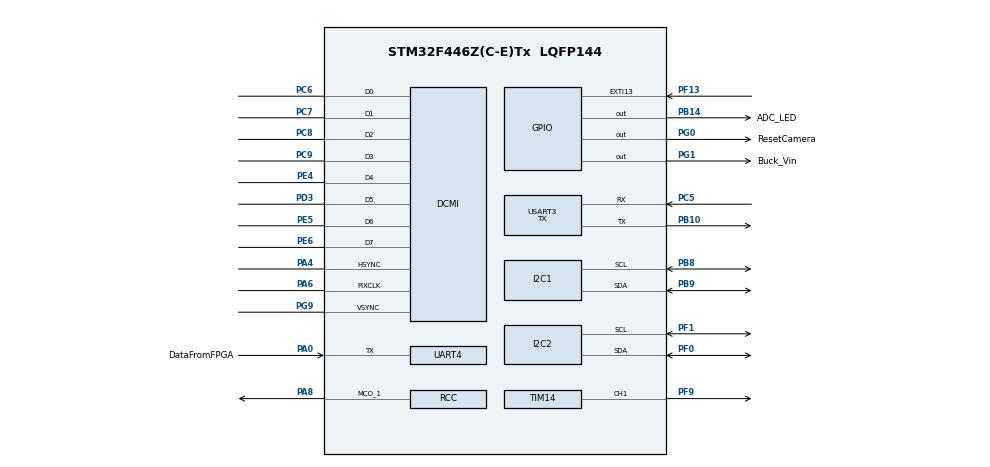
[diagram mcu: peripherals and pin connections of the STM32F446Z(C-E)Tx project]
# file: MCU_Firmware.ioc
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DCMI.HSPolarity=DCMI_HSPOLARITY_LOW
DCMI.JPEGMode=DCMI_JPEG_DISABLE
DCMI.PCKPolarity=DCMI_PCKPOLARITY_RISING
DCMI.VSPolarity=DCMI_VSPOLARITY_HIGH
Dma.DCMI.0.Direction=DMA_PERIPH_TO_MEMORY
Dma.DCMI.0.FIFOMode=DMA_FIFOMODE_ENABLE
Dma.DCMI.0.FIFOThreshold=DMA_FIFO_THRESHOLD_FULL
Dma.DCMI.0.Instance=DMA2_Stream1
Dma.DCMI.0.MemBurst=DMA_MBURST_INC4
Dma.DCMI.0.MemDataAlignment=DMA_MDATAALIGN_WORD
Dma.DCMI.0.MemInc=DMA_MINC_ENABLE
Dma.DCMI.0.Mode=DMA_CIRCULAR
Dma.DCMI.0.PeriphBurst=DMA_PBURST_SINGLE
Dma.DCMI.0.PeriphDataAlignment=DMA_PDATAALIGN_WORD
Dma.DCMI.0.PeriphInc=DMA_PINC_DISABLE
Dma.DCMI.0.Priority=DMA_PRIORITY_LOW
Dma.Request0=DCMI
I2C2.I2C_Mode=I2C_Standard
Mcu.Family=STM32F4
Mcu.Name=STM32F446Z(C-E)Tx
Mcu.Package=LQFP144
NVIC.DMA2_Stream1_IRQn=true\:0\:0\:false\:false\:true\:false\:true
NVIC.PriorityGroup=NVIC_PRIORITYGROUP_4
NVIC.UART4_IRQn=true\:0\:0\:false\:false\:true\:true\:true
PA0-WKUP.GPIO_Label=DataFromFPGA
PA0-WKUP.Mode=Half_duplex(single_wire_mode)
PA0-WKUP.Signal=UART4_TX
PA11.Signal=USB_OTG_FS_DM
PA12.Signal=USB_OTG_FS_DP
PA4.GPIO_Speed=GPIO_SPEED_FREQ_VERY_HIGH
PA4.Mode=Slave_8_bits_External_Synchro
PA4.Signal=DCMI_HSYNC
PA6.GPIO_Speed=GPIO_SPEED_FREQ_VERY_HIGH
PA6.Mode=Slave_8_bits_External_Synchro
PA6.Signal=DCMI_PIXCLK
PA8.Mode=Clock-out-1
PA8.Signal=RCC_MCO_1
PB10.Mode=Asynchronous
PB10.Signal=USART3_TX
PB14.GPIO_Label=ADC_LED
PB14.Signal=GPIO_Output
PB8.Mode=I2C
PB8.Signal=I2C1_SCL
PB9.Mode=I2C
PB9.Signal=I2C1_SDA
PC5.Mode=Asynchronous
PC5.Signal=USART3_RX
PC6.Mode=Slave_8_bits_External_Synchro
PC6.Signal=DCMI_D0
PC7.Mode=Slave_8_bits_External_Synchro
PC7.Signal=DCMI_D1
PC8.Mode=Slave_8_bits_External_Synchro
PC8.Signal=DCMI_D2
PC9.Mode=Slave_8_bits_External_Synchro
PC9.Signal=DCMI_D3
PD3.Mode=Slave_8_bits_External_Synchro
PD3.Signal=DCMI_D5
PE4.Mode=Slave_8_bits_External_Synchro
PE4.Signal=DCMI_D4
PE5.Mode=Slave_8_bits_External_Synchro
PE5.Signal=DCMI_D6
PE6.Mode=Slave_8_bits_External_Synchro
PE6.Signal=DCMI_D7
PF0.Mode=I2C
PF0.Signal=I2C2_SDA
PF1.Mode=I2C
PF1.Signal=I2C2_SCL
PF13.GPIO_PuPd=GPIO_NOPULL
PF13.Signal=GPXTI13
PF9.Signal=S_TIM14_CH1
PG0.GPIO_Label=ResetCamera
PG0.Signal=GPIO_Output
PG1.GPIO_Label=Buck_Vin
PG1.Signal=GPIO_Output
PG9.GPIO_Speed=GPIO_SPEED_FREQ_VERY_HIGH
PG9.Mode=Slave_8_bits_External_Synchro
PG9.Signal=DCMI_VSYNC
PH0-OSC_IN.Mode=HSE-External-Oscillator
PH0-OSC_IN.Signal=RCC_OSC_IN
PH1-OSC_OUT.Mode=HSE-External-Oscillator
PH1-OSC_OUT.Signal=RCC_OSC_OUT
ProjectManager.HeapSize=0x200
ProjectManager.StackSize=0x400
ProjectManager.TargetToolchain=STM32CubeIDE
RCC.CortexFreq_Value=16000000
RCC.PLLM=15
RCC.PLLN=144
RCC.PLLQ=5
RCC.PLLSourceVirtual=RCC_PLLSOURCE_HSE
RCC.RCC_MCO1Source=RCC_MCO1SOURCE_HSE
RCC.USBFreq_Value=48000000
RCC.VCOOutputFreq_Value=240000000
SH.S_TIM14_CH1.0=TIM14_CH1,PWM Generation1 CH1
TIM14.Channel=TIM_CHANNEL_1
TIM14.Period=100
TIM14.Prescaler=160
TIM14.Pulse=75
UART4.Mode=MODE_RX
UART4.Parity=PARITY_ODD
UART4.VirtualMode=Asynchronous
UART4.WordLength=WORDLENGTH_9B
USART3.Mode=MODE_TX
USART3.VirtualMode=VM_ASYNC
VP_TIM14_VS_ClockSourceINT.Mode=Enable_Timer
board=custom

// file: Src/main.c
/* USER CODE BEGIN Header */
/**
  ******************************************************************************
  * @file           : main.c
  * @brief          : Main program body
  ******************************************************************************
  * @attention
  *
  * <h2><center>&copy; Copyright (c) 2019 STMicroelectronics.
  * All rights reserved.</center></h2>
  *
  * This software component is licensed by ST under BSD 3-Clause license,
  * the "License"; You may not use this file except in compliance with the
  * License. You may obtain a copy of the License at:
  *                        opensource.org/licenses/BSD-3-Clause
  *
  ******************************************************************************
  */
/* USER CODE END Header */

#include "main.h"

/* USER CODE BEGIN Includes */
#include "adc.h"
#include "ov7670.h"
/* USER CODE END Includes */

/* USER CODE BEGIN PD */
#define LUX_THRESHOLD 1.5
/* USER CODE END PD */

DCMI_HandleTypeDef hdcmi;
DMA_HandleTypeDef hdma_dcmi;

I2C_HandleTypeDef hi2c1;
I2C_HandleTypeDef hi2c2;

TIM_HandleTypeDef htim14;

UART_HandleTypeDef huart4;
UART_HandleTypeDef huart3;

void SystemClock_Config(void);
static void MX_GPIO_Init(void);
static void MX_DMA_Init(void);
static void MX_I2C1_Init(void);
static void MX_DCMI_Init(void);
static void MX_I2C2_Init(void);
static void MX_USART3_UART_Init(void);
static void MX_TIM14_Init(void);
static void MX_UART4_Init(void);

/* USER CODE BEGIN 0 */
uint8_t conf[2] = {0x12, 0x80};
uint8_t buffer_uart;
//uint32_t buff[38400];

/* USER CODE END 0 */

int main(void)
{
  /* USER CODE BEGIN 1 */
  float measure=0.0;
  uint32_t i = 0;
  uint32_t lcdBuffer[19200];

  /* USER CODE END 1 */

  /* MCU Configuration--------------------------------------------------------*/

  /* Reset of all peripherals, Initializes the Flash interface and the Systick. */
  HAL_Init();

  /* Configure the system clock */
  SystemClock_Config();

  /* Initialize all configured peripherals */
  MX_GPIO_Init();
  MX_DMA_Init();
  MX_I2C1_Init();
  MX_DCMI_Init();
  MX_I2C2_Init();
  MX_USART3_UART_Init();
  MX_TIM14_Init();
  MX_UART4_Init();
  /* USER CODE BEGIN 2 */
  ADC_init(&hi2c1);

  ov7670_init(&hdcmi, &hdma_dcmi, &hi2c2);
  ov7670_config(0);
  HAL_TIM_PWM_Start(&htim14, TIM_CHANNEL_1);
  //HAL_DCMI_Start_DMA(&hdcmi, DCMI_MODE_CONTINUOUS, lcdBuffer, 19200);
  //ov7670_startCap(0, (uint32_t)buff);
  /* USER CODE END 2 */

  /* Infinite loop */
  while (1)
  {

    /* USER CODE BEGIN 3 */
	HAL_UART_Receive_IT(&huart4, &buffer_uart, 1);

    measure = ADC_do_conversion();
    HAL_Delay(500);

    if(measure <LUX_THRESHOLD)
    {
    	//HAL_GPIO_WritePin(Buck_Vin_GPIO_Port, Buck_Vin_Pin, GPIO_PIN_SET);
    	HAL_TIM_PWM_Start(&htim14, TIM_CHANNEL_1);
    }
    else
    {
    //	HAL_GPIO_WritePin(Buck_Vin_GPIO_Port, Buck_Vin_Pin, GPIO_PIN_RESET);
    	HAL_TIM_PWM_Stop(&htim14, TIM_CHANNEL_1);
    }

    if(buffer_uart == 1)
    {
    	buffer_uart = 0;
    	HAL_DCMI_Start_DMA(&hdcmi, DCMI_MODE_SNAPSHOT, lcdBuffer, 19200);
    	HAL_Delay(1000);
    	ov7670_stopCap();
    	for(i=0; i<19200; i++)
    	{
    		HAL_UART_Transmit(&huart3, &lcdBuffer[i], 4, 300);
    	}

    }
   // HAL_DCMI_Start_DMA(&hdcmi, DCMI_MODE_SNAPSHOT, lcdBuffer, 19200);

  //  HAL_Delay(1000);

//    HAL_UART_Transmit(&huart3, &lcdBuffer[0], 19200*4, 300);
//    HAL_UART_Transmit(&huart3, &lcdBuffer[10000], 9200, 300);

   // ov7670_stopCap();

//    for(i=0; i<19200; i++)
//    {
//    	HAL_UART_Transmit(&huart3, &lcdBuffer[i], 4, 300);
//    }

  }
  /* USER CODE END 3 */
}

void SystemClock_Config(void)
{
  RCC_OscInitTypeDef RCC_OscInitStruct = {0};
  RCC_ClkInitTypeDef RCC_ClkInitStruct = {0};

  /** Configure the main internal regulator output voltage
  */
  __HAL_RCC_PWR_CLK_ENABLE();
  __HAL_PWR_VOLTAGESCALING_CONFIG(PWR_REGULATOR_VOLTAGE_SCALE3);
  /** Initializes the CPU, AHB and APB busses clocks
  */
  RCC_OscInitStruct.OscillatorType = RCC_OSCILLATORTYPE_HSI|RCC_OSCILLATORTYPE_HSE;
  RCC_OscInitStruct.HSEState = RCC_HSE_ON;
  RCC_OscInitStruct.HSIState = RCC_HSI_ON;
  RCC_OscInitStruct.HSICalibrationValue = RCC_HSICALIBRATION_DEFAULT;
  RCC_OscInitStruct.PLL.PLLState = RCC_PLL_NONE;
  if (HAL_RCC_OscConfig(&RCC_OscInitStruct) != HAL_OK)
  {
    Error_Handler();
  }
  /** Initializes the CPU, AHB and APB busses clocks
  */
  RCC_ClkInitStruct.ClockType = RCC_CLOCKTYPE_HCLK|RCC_CLOCKTYPE_SYSCLK
                              |RCC_CLOCKTYPE_PCLK1|RCC_CLOCKTYPE_PCLK2;
  RCC_ClkInitStruct.SYSCLKSource = RCC_SYSCLKSOURCE_HSI;
  RCC_ClkInitStruct.AHBCLKDivider = RCC_SYSCLK_DIV1;
  RCC_ClkInitStruct.APB1CLKDivider = RCC_HCLK_DIV1;
  RCC_ClkInitStruct.APB2CLKDivider = RCC_HCLK_DIV1;

  if (HAL_RCC_ClockConfig(&RCC_ClkInitStruct, FLASH_LATENCY_0) != HAL_OK)
  {
    Error_Handler();
  }
  HAL_RCC_MCOConfig(RCC_MCO1, RCC_MCO1SOURCE_HSE, RCC_MCODIV_1);
}

static void MX_DCMI_Init(void)
{

  hdcmi.Instance = DCMI;
  hdcmi.Init.SynchroMode = DCMI_SYNCHRO_HARDWARE;
  hdcmi.Init.PCKPolarity = DCMI_PCKPOLARITY_RISING;
  hdcmi.Init.VSPolarity = DCMI_VSPOLARITY_HIGH;
  hdcmi.Init.HSPolarity = DCMI_HSPOLARITY_LOW;
  hdcmi.Init.CaptureRate = DCMI_CR_ALL_FRAME;
  hdcmi.Init.ExtendedDataMode = DCMI_EXTEND_DATA_8B;
  hdcmi.Init.JPEGMode = DCMI_JPEG_DISABLE;
  hdcmi.Init.ByteSelectMode = DCMI_BSM_ALL;
  hdcmi.Init.ByteSelectStart = DCMI_OEBS_ODD;
  hdcmi.Init.LineSelectMode = DCMI_LSM_ALL;
  hdcmi.Init.LineSelectStart = DCMI_OELS_ODD;
  if (HAL_DCMI_Init(&hdcmi) != HAL_OK)
  {
    Error_Handler();
  }

}

static void MX_I2C1_Init(void)
{

  hi2c1.Instance = I2C1;
  hi2c1.Init.ClockSpeed = 100000;
  hi2c1.Init.DutyCycle = I2C_DUTYCYCLE_2;
  hi2c1.Init.OwnAddress1 = 0;
  hi2c1.Init.AddressingMode = I2C_ADDRESSINGMODE_7BIT;
  hi2c1.Init.DualAddressMode = I2C_DUALADDRESS_DISABLE;
  hi2c1.Init.OwnAddress2 = 0;
  hi2c1.Init.GeneralCallMode = I2C_GENERALCALL_DISABLE;
  hi2c1.Init.NoStretchMode = I2C_NOSTRETCH_DISABLE;
  if (HAL_I2C_Init(&hi2c1) != HAL_OK)
  {
    Error_Handler();
  }

}

static void MX_I2C2_Init(void)
{

  hi2c2.Instance = I2C2;
  hi2c2.Init.ClockSpeed = 100000;
  hi2c2.Init.DutyCycle = I2C_DUTYCYCLE_2;
  hi2c2.Init.OwnAddress1 = 0;
  hi2c2.Init.AddressingMode = I2C_ADDRESSINGMODE_7BIT;
  hi2c2.Init.DualAddressMode = I2C_DUALADDRESS_DISABLE;
  hi2c2.Init.OwnAddress2 = 0;
  hi2c2.Init.GeneralCallMode = I2C_GENERALCALL_DISABLE;
  hi2c2.Init.NoStretchMode = I2C_NOSTRETCH_DISABLE;
  if (HAL_I2C_Init(&hi2c2) != HAL_OK)
  {
    Error_Handler();
  }

}

static void MX_TIM14_Init(void)
{

  TIM_OC_InitTypeDef sConfigOC = {0};

  htim14.Instance = TIM14;
  htim14.Init.Prescaler = 160;
  htim14.Init.CounterMode = TIM_COUNTERMODE_UP;
  htim14.Init.Period = 100;
  htim14.Init.ClockDivision = TIM_CLOCKDIVISION_DIV1;
  htim14.Init.AutoReloadPreload = TIM_AUTORELOAD_PRELOAD_DISABLE;
  if (HAL_TIM_Base_Init(&htim14) != HAL_OK)
  {
    Error_Handler();
  }
  if (HAL_TIM_PWM_Init(&htim14) != HAL_OK)
  {
    Error_Handler();
  }
  sConfigOC.OCMode = TIM_OCMODE_PWM1;
  sConfigOC.Pulse = 75;
  sConfigOC.OCPolarity = TIM_OCPOLARITY_HIGH;
  sConfigOC.OCFastMode = TIM_OCFAST_DISABLE;
  if (HAL_TIM_PWM_ConfigChannel(&htim14, &sConfigOC, TIM_CHANNEL_1) != HAL_OK)
  {
    Error_Handler();
  }
  HAL_TIM_MspPostInit(&htim14);

}

static void MX_UART4_Init(void)
{

  huart4.Instance = UART4;
  huart4.Init.BaudRate = 115200;
  huart4.Init.WordLength = UART_WORDLENGTH_8B;
  huart4.Init.StopBits = UART_STOPBITS_1;
  huart4.Init.Parity = UART_PARITY_ODD;
  huart4.Init.Mode = UART_MODE_RX;
  huart4.Init.HwFlowCtl = UART_HWCONTROL_NONE;
  huart4.Init.OverSampling = UART_OVERSAMPLING_16;
  if (HAL_HalfDuplex_Init(&huart4) != HAL_OK)
  {
    Error_Handler();
  }

}

static void MX_USART3_UART_Init(void)
{

  huart3.Instance = USART3;
  huart3.Init.BaudRate = 115200;
  huart3.Init.WordLength = UART_WORDLENGTH_8B;
  huart3.Init.StopBits = UART_STOPBITS_1;
  huart3.Init.Parity = UART_PARITY_NONE;
  huart3.Init.Mode = UART_MODE_TX;
  huart3.Init.HwFlowCtl = UART_HWCONTROL_NONE;
  huart3.Init.OverSampling = UART_OVERSAMPLING_16;
  if (HAL_UART_Init(&huart3) != HAL_OK)
  {
    Error_Handler();
  }

}

static void MX_DMA_Init(void)
{

  /* DMA controller clock enable */
  __HAL_RCC_DMA2_CLK_ENABLE();

  /* DMA interrupt init */
  /* DMA2_Stream1_IRQn interrupt configuration */
  HAL_NVIC_SetPriority(DMA2_Stream1_IRQn, 0, 0);
  HAL_NVIC_EnableIRQ(DMA2_Stream1_IRQn);

}

static void MX_GPIO_Init(void)
{
  GPIO_InitTypeDef GPIO_InitStruct = {0};

  /* GPIO Ports Clock Enable */
  __HAL_RCC_GPIOE_CLK_ENABLE();
  __HAL_RCC_GPIOF_CLK_ENABLE();
  __HAL_RCC_GPIOH_CLK_ENABLE();
  __HAL_RCC_GPIOA_CLK_ENABLE();
  __HAL_RCC_GPIOC_CLK_ENABLE();
  __HAL_RCC_GPIOG_CLK_ENABLE();
  __HAL_RCC_GPIOB_CLK_ENABLE();
  __HAL_RCC_GPIOD_CLK_ENABLE();

  /*Configure GPIO pin Output Level */
  HAL_GPIO_WritePin(GPIOG, ResetCamera_Pin|Buck_Vin_Pin, GPIO_PIN_RESET);

  /*Configure GPIO pin Output Level */
  HAL_GPIO_WritePin(ADC_LED_GPIO_Port, ADC_LED_Pin, GPIO_PIN_RESET);

  /*Configure GPIO pin : PF13 */
  GPIO_InitStruct.Pin = GPIO_PIN_13;
  GPIO_InitStruct.Mode = GPIO_MODE_IT_RISING;
  GPIO_InitStruct.Pull = GPIO_NOPULL;
  HAL_GPIO_Init(GPIOF, &GPIO_InitStruct);

  /*Configure GPIO pins : ResetCamera_Pin Buck_Vin_Pin */
  GPIO_InitStruct.Pin = ResetCamera_Pin|Buck_Vin_Pin;
  GPIO_InitStruct.Mode = GPIO_MODE_OUTPUT_PP;
  GPIO_InitStruct.Pull = GPIO_NOPULL;
  GPIO_InitStruct.Speed = GPIO_SPEED_FREQ_LOW;
  HAL_GPIO_Init(GPIOG, &GPIO_InitStruct);

  /*Configure GPIO pin : ADC_LED_Pin */
  GPIO_InitStruct.Pin = ADC_LED_Pin;
  GPIO_InitStruct.Mode = GPIO_MODE_OUTPUT_PP;
  GPIO_InitStruct.Pull = GPIO_NOPULL;
  GPIO_InitStruct.Speed = GPIO_SPEED_FREQ_LOW;
  HAL_GPIO_Init(ADC_LED_GPIO_Port, &GPIO_InitStruct);

  /*Configure GPIO pin : PA8 */
  GPIO_InitStruct.Pin = GPIO_PIN_8;
  GPIO_InitStruct.Mode = GPIO_MODE_AF_PP;
  GPIO_InitStruct.Pull = GPIO_NOPULL;
  GPIO_InitStruct.Speed = GPIO_SPEED_FREQ_LOW;
  GPIO_InitStruct.Alternate = GPIO_AF0_MCO;
  HAL_GPIO_Init(GPIOA, &GPIO_InitStruct);

  /*Configure GPIO pins : PA11 PA12 */
  GPIO_InitStruct.Pin = GPIO_PIN_11|GPIO_PIN_12;
  GPIO_InitStruct.Mode = GPIO_MODE_AF_PP;
  GPIO_InitStruct.Pull = GPIO_NOPULL;
  GPIO_InitStruct.Speed = GPIO_SPEED_FREQ_VERY_HIGH;
  GPIO_InitStruct.Alternate = GPIO_AF10_OTG_FS;
  HAL_GPIO_Init(GPIOA, &GPIO_InitStruct);

}

void Error_Handler(void)
{
}

/************************ (C) COPYRIGHT STMicroelectronics *****END OF FILE****/
